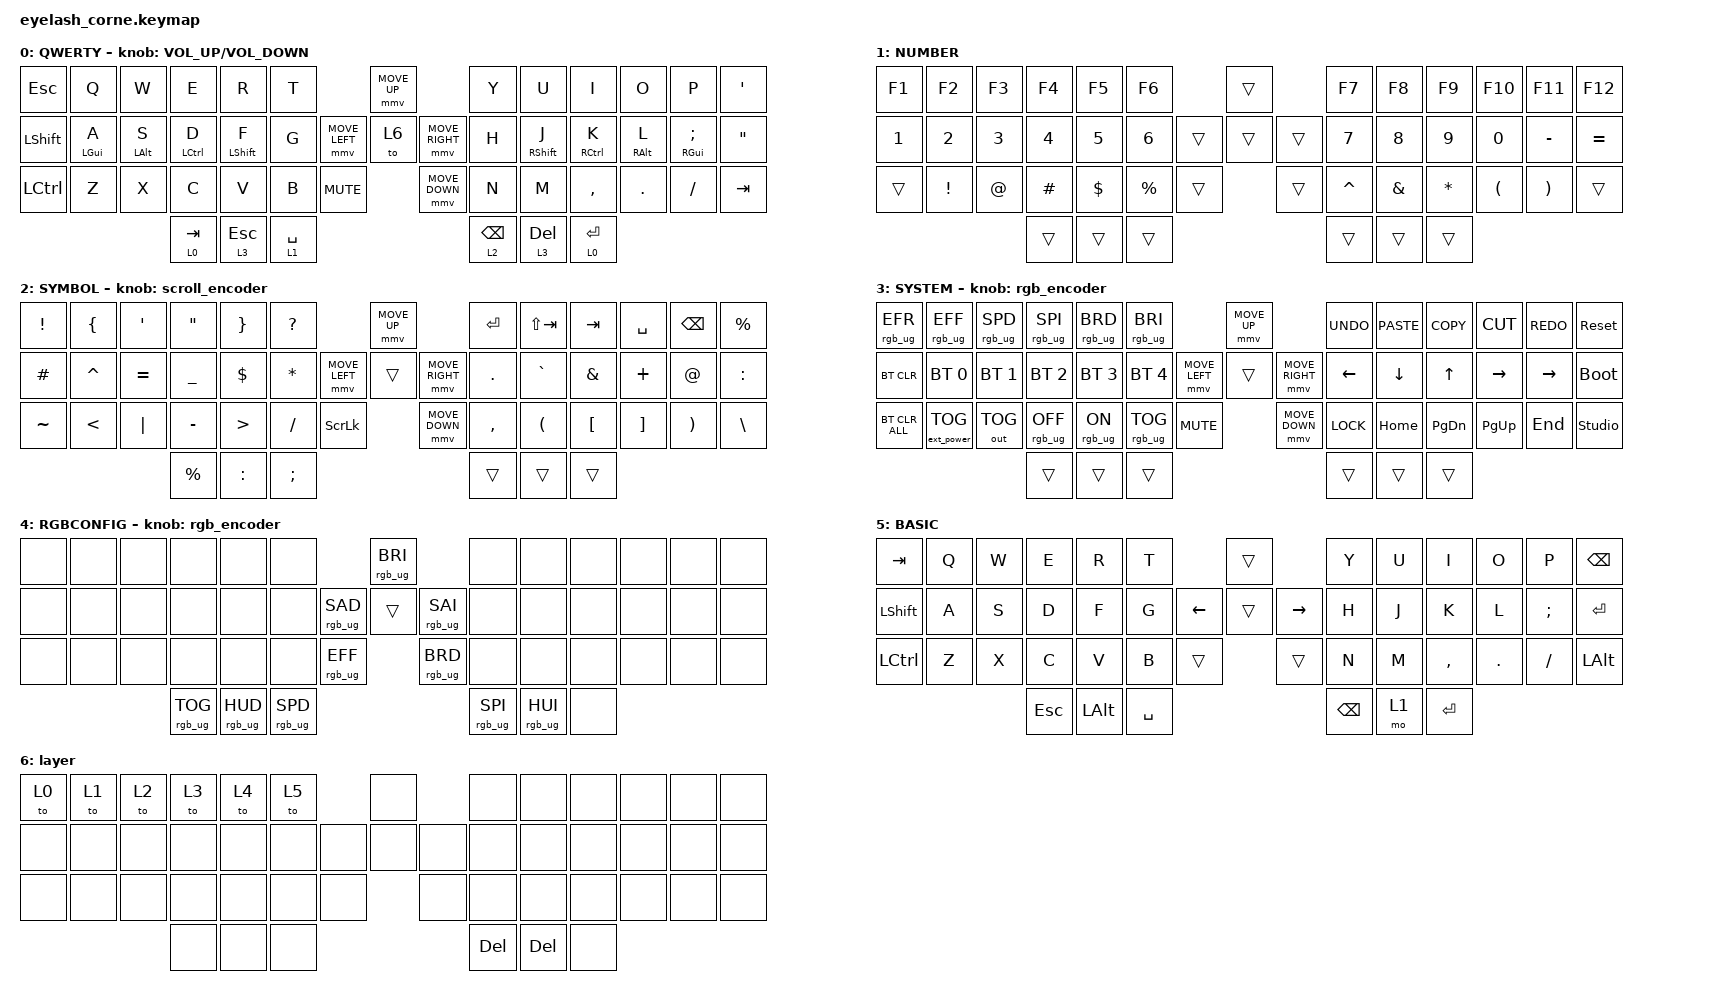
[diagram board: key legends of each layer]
#include <dt-bindings/zmk/mouse.h>
#include <input/processors.dtsi>
#include <behaviors.dtsi>
#include <dt-bindings/zmk/bt.h>
#include <dt-bindings/zmk/ext_power.h>
#include <dt-bindings/zmk/keys.h>
#include <dt-bindings/zmk/outputs.h>
#include <dt-bindings/zmk/pointing.h>
#include <dt-bindings/zmk/rgb.h>

/*

   &mmv_input_listener {
       input-processors = <&zip_xy_scaler 2 1>;
   };

   &msc_input_listener {
       input-processors = <&zip_xy_scaler 2 1>;
   };

 */

#define ZMK_MOUSE_DEFAULT_MOVE_VAL 1200  // 600
#define ZMK_MOUSE_DEFAULT_SCRL_VAL 20    // 10

/ {
    behaviors {
        td0: td0 {
            compatible = "zmk,behavior-tap-dance";
            display-name = "Shift/Caps Lock Tap Dance";
            #binding-cells = <0>;
            bindings = <&kp LEFT_SHIFT>, <&kp CAPS>;
        };

        hrm_left: hrm_left {
            compatible = "zmk,behavior-hold-tap";
            label = "HRM_LEFT";
            bindings = <&kp>, <&kp>;

            #binding-cells = <2>;
            flavor = "tap-preferred";
            tapping-term-ms = <250>;
            quick-tap-ms = <300>;
            require-prior-idle-ms = <150>;
            hold-trigger-on-release;
            hold-trigger-key-positions = <6 7 20 21 22 35 36 45 46 47 8 9 10 11 12 23 24 25 26 27 37 38 39 40 41 19 34 44 43 42>;
        };

        hrm_right: hrm_right {
            compatible = "zmk,behavior-hold-tap";
            label = "HRM_RIGHT";
            bindings = <&kp>, <&kp>;

            #binding-cells = <2>;
            flavor = "tap-preferred";
            tapping-term-ms = <250>;
            quick-tap-ms = <300>;
            require-prior-idle-ms = <150>;
            hold-trigger-on-release;
            hold-trigger-key-positions = <0 1 2 3 4 5 13 14 15 16 17 18 28 29 30 31 32 33 34 42 43 44 19 20 21 35 6 45 46 47>;
        };

        layer_tap: layer_tap {
            compatible = "zmk,behavior-hold-tap";
            label = "LAYER_TAP";
            bindings = <&mo>, <&kp>;

            #binding-cells = <2>;
            quick-tap-ms = <150>;
            flavor = "balanced";
            tapping-term-ms = <170>;
        };
    };

    rgb_encoder: rgb_encoder {
        compatible = "zmk,behavior-sensor-rotate";
        #sensor-binding-cells = <0>;
        bindings = <&rgb_ug RGB_BRI>, <&rgb_ug RGB_BRD>;
    };

    scroll_encoder: scroll_encoder {
        compatible = "zmk,behavior-sensor-rotate";
        #sensor-binding-cells = <0>;
        bindings = <&msc SCRL_DOWN>, <&msc SCRL_UP>;

        tap-ms = <30>;
    };

    combos {
        compatible = "zmk,combos";

        Doofus {
            bindings = <&tog 0>;
            key-positions = <44 45>;
        };

        RGB {
            bindings = <&tog 4>;
            key-positions = <42 47>;
        };

        basic_tog {
            bindings = <&tog 5>;
            key-positions = <43 46>;
        };
    };

    keymap {
        compatible = "zmk,keymap";

        qwerty {
            display-name = "QWERTY";
            bindings = <
&kp ESCAPE        &kp Q             &kp W             &kp E              &kp R              &kp T                                             &mmv MOVE_UP                     &kp Y                   &kp U               &kp I               &kp O              &kp P                 &kp SINGLE_QUOTE
&kp LEFT_SHIFT    &hrm_left LGUI A  &hrm_left LALT S  &hrm_left LCTRL D  &hrm_left LSHFT F  &kp G                             &mmv MOVE_LEFT  &to 6           &mmv MOVE_RIGHT  &kp H                   &hrm_right RSHFT J  &hrm_right RCTRL K  &hrm_right RALT L  &hrm_right RGUI SEMI  &kp DOUBLE_QUOTES
&kp LEFT_CONTROL  &kp Z             &kp X             &kp C              &kp V              &kp B               &kp C_MUTE                    &mmv MOVE_DOWN                   &kp N                   &kp M               &kp COMMA           &kp DOT            &kp FSLH              &kp TAB
                                                      &layer_tap 0 TAB   &layer_tap 3 ESC   &layer_tap 1 SPACE                                                                 &layer_tap 2 BACKSPACE  &layer_tap 3 DEL    &layer_tap 0 ENTER
            >;

            sensor-bindings = <&inc_dec_kp C_VOLUME_UP C_VOLUME_DOWN>;
        };

        Number {
            bindings = <
&kp F1  &kp F2    &kp F3  &kp F4    &kp F5      &kp F6                         &trans          &kp F7     &kp F8         &kp F9    &kp F10               &kp F11                &kp F12
&kp N1  &kp N2    &kp N3  &kp N4    &kp N5      &kp N6                 &trans  &trans  &trans  &kp N7     &kp N8         &kp N9    &kp N0                &kp MINUS              &kp EQUAL
&trans  &kp EXCL  &kp AT  &kp HASH  &kp DOLLAR  &kp PERCENT  &trans            &trans          &kp CARET  &kp AMPERSAND  &kp STAR  &kp LEFT_PARENTHESIS  &kp RIGHT_PARENTHESIS  &trans
                          &trans    &trans      &trans                                         &trans     &trans         &trans
            >;

            label = "NUMBER";
        };

        symbol {
            bindings = <
&kp EXCLAMATION  &kp LEFT_BRACE  &kp SQT    &kp DOUBLE_QUOTES  &kp RIGHT_BRACE   &kp QUESTION                                     &mmv MOVE_UP                     &kp ENTER   &kp LS(TAB)           &kp TAB           &kp SPACE          &kp BACKSPACE          &kp PERCENT
&kp HASH         &kp CARET       &kp EQUAL  &kp UNDERSCORE     &kp DOLLAR        &kp ASTERISK                     &mmv MOVE_LEFT  &trans          &mmv MOVE_RIGHT  &kp PERIOD  &kp GRAVE             &kp AMPERSAND     &kp PLUS           &kp AT                 &kp COLON
&kp TILDE        &kp LESS_THAN   &kp PIPE   &kp MINUS          &kp GREATER_THAN  &kp SLASH      &kp SCROLLLOCK                    &mmv MOVE_DOWN                   &kp COMMA   &kp LEFT_PARENTHESIS  &kp LEFT_BRACKET  &kp RIGHT_BRACKET  &kp RIGHT_PARENTHESIS  &kp BACKSLASH
                                            &kp PERCENT        &kp COLON         &kp SEMICOLON                                                                     &trans      &trans                &trans
            >;

            label = "SYMBOL";
            sensor-bindings = <&scroll_encoder>;
        };

        system {
            display-name = "SYSTEM";
            bindings = <
&rgb_ug RGB_EFR  &rgb_ug RGB_EFF    &rgb_ug RGB_SPD  &rgb_ug RGB_SPI  &rgb_ug RGB_BRD  &rgb_ug RGB_BRI                                &mmv MOVE_UP                     &kp K_UNDO  &kp K_PASTE  &kp K_COPY  &kp K_CUT  &kp K_REDO  &sys_reset
&bt BT_CLR       &bt BT_SEL 0       &bt BT_SEL 1     &bt BT_SEL 2     &bt BT_SEL 3     &bt BT_SEL 4                   &mmv MOVE_LEFT  &trans          &mmv MOVE_RIGHT  &kp LEFT    &kp DOWN     &kp UP      &kp RIGHT  &kp RIGHT   &bootloader
&bt BT_CLR_ALL   &ext_power EP_TOG  &out OUT_TOG     &rgb_ug RGB_OFF  &rgb_ug RGB_ON   &rgb_ug RGB_TOG  &kp C_MUTE                    &mmv MOVE_DOWN                   &kp K_LOCK  &kp HOME     &kp PG_DN   &kp PG_UP  &kp END     &studio_unlock
                                                     &trans           &trans           &trans                                                                          &trans      &trans       &trans
            >;

            sensor-bindings = <&rgb_encoder>;
        };

        RGB {
            bindings = <
&none  &none  &none  &none            &none            &none                                                &rgb_ug RGB_BRI                   &none            &none            &none  &none  &none  &none
&none  &none  &none  &none            &none            &none                               &rgb_ug RGB_SAD  &trans           &rgb_ug RGB_SAI  &none            &none            &none  &none  &none  &none
&none  &none  &none  &none            &none            &none            &rgb_ug RGB_EFF                     &rgb_ug RGB_BRD                   &none            &none            &none  &none  &none  &none
                     &rgb_ug RGB_TOG  &rgb_ug RGB_HUD  &rgb_ug RGB_SPD                                                                        &rgb_ug RGB_SPI  &rgb_ug RGB_HUI  &none
            >;

            label = "RGBCONFIG";
            sensor-bindings = <&rgb_encoder>;
        };

        basic {
            bindings = <
&kp TAB    &kp Q  &kp W  &kp E       &kp R     &kp T                          &trans             &kp Y          &kp U  &kp I      &kp O    &kp P     &kp BSPC
&kp LSHFT  &kp A  &kp S  &kp D       &kp F     &kp G                &kp LEFT  &trans  &kp RIGHT  &kp H          &kp J  &kp K      &kp L    &kp SEMI  &kp RET
&kp LCTRL  &kp Z  &kp X  &kp C       &kp V     &kp B      &trans              &trans             &kp N          &kp M  &kp COMMA  &kp DOT  &kp FSLH  &kp LALT
                         &kp ESCAPE  &kp LALT  &kp SPACE                                         &kp BACKSPACE  &mo 1  &kp ENTER
            >;

            label = "BASIC";
        };

        layer-selector {
            bindings = <
&to 0  &to 1  &to 2  &to 3  &to 4  &to 5                  &none         &none    &none    &none  &none  &none  &none
&none  &none  &none  &none  &none  &none           &none  &none  &none  &none    &none    &none  &none  &none  &none
&none  &none  &none  &none  &none  &none  &none           &none         &none    &none    &none  &none  &none  &none
                     &none  &none  &none                                &kp DEL  &kp DEL  &none
            >;

            label = "layer";
        };
    };
};
